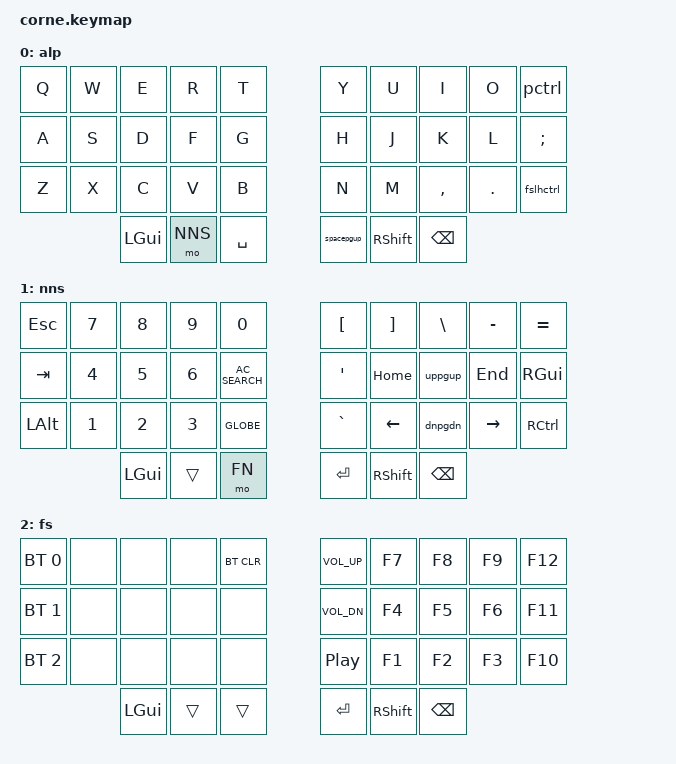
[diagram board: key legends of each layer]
/*
 * Copyright (c) 2020 The ZMK Contributors
 *
 * SPDX-License-Identifier: MIT
 */

#include <behaviors.dtsi>
#include <dt-bindings/zmk/keys.h>
#include <dt-bindings/zmk/bt.h>

#define BASE 0
#define NNS  1
#define FN   2
#define SAW  C_AC_DESKTOP_SHOW_ALL_WINDOWS

/ {
  chosen {
    zmk,physical-layout = &foostan_corne_5col_layout;
  };

  behaviors {
    pctrl: gui_ctrl {
      compatible = "zmk,behavior-mod-morph";
      #binding-cells = <0>;
      bindings = <&kp P>, <&kp RCTRL>;
      mods = <(MOD_LGUI)>;
      keep-mods = <(MOD_LGUI)>;
    };

    fslhctrl: ctrl {
      compatible = "zmk,behavior-mod-morph";
      #binding-cells = <0>;
      bindings = <&kp FSLH>, <&kp RCTRL>;
      mods = <(MOD_LGUI)>;
    };

    spacepgup: space_page_up {
      compatible = "zmk,behavior-mod-morph";
      #binding-cells = <0>;
      bindings = <&kp SPACE>, <&kp PAGE_UP>;
      mods = <(MOD_RSFT)>;
    };

    uppgup: up_page_up {
      compatible = "zmk,behavior-mod-morph";
      #binding-cells = <0>;
      bindings = <&kp UP>, <&kp PAGE_UP>;
      mods = <(MOD_RGUI)>;
    };

    dnpgdn: down_page_down {
      compatible = "zmk,behavior-mod-morph";
      #binding-cells = <0>;
      bindings = <&kp DOWN>, <&kp PAGE_DOWN>;
      mods = <(MOD_RGUI)>;
    };
  };

  keymap {
    compatible = "zmk,keymap";
    
    base {
      display-name = "alp";
      bindings = <
        &kp Q  &kp W  &kp E     &kp R    &kp T      &kp Y       &kp U      &kp I      &kp O    &pctrl
        &kp A  &kp S  &kp D     &kp F    &kp G      &kp H       &kp J      &kp K      &kp L    &kp SEMI
        &kp Z  &kp X  &kp C     &kp V    &kp B      &kp N       &kp M      &kp COMMA  &kp DOT  &fslhctrl
                      &kp LGUI  &mo NNS  &kp SPACE  &spacepgup  &kp RSHFT  &kp BSPC
      >;
    };

    nns {
      display-name = "nns";
      bindings = <
          &kp ESC   &kp N7  &kp N8    &kp N9  &kp N0           &kp LBKT   &kp RBKT   &kp BSLH  &kp MINUS  &kp EQUAL
          &kp TAB   &kp N4  &kp N5    &kp N6  &kp C_AC_SEARCH  &kp SQT    &kp HOME   &uppgup   &kp END    &kp RGUI
          &kp LALT  &kp N1  &kp N2    &kp N3  &kp GLOBE        &kp GRAVE  &kp LEFT   &dnpgdn   &kp RIGHT  &kp RCTRL
                            &kp LGUI  &trans  &mo FN           &kp RET    &kp RSHFT  &kp BSPC
      >;
    };

    fn {
      display-name = "fs";
      bindings = <
          &bt BT_SEL 0  &none  &none     &none   &bt BT_CLR  &kp C_VOL_UP      &kp F7     &kp F8     &kp F9  &kp F12
          &bt BT_SEL 1  &none  &none     &none   &none       &kp C_VOL_DN      &kp F4     &kp F5     &kp F6  &kp F11
          &bt BT_SEL 2  &none  &none     &none   &none       &kp C_PLAY_PAUSE  &kp F1     &kp F2     &kp F3  &kp F10
                               &kp LGUI  &trans  &trans      &kp RET           &kp RSHFT  &kp BSPC
      >;
    };
  };
};
